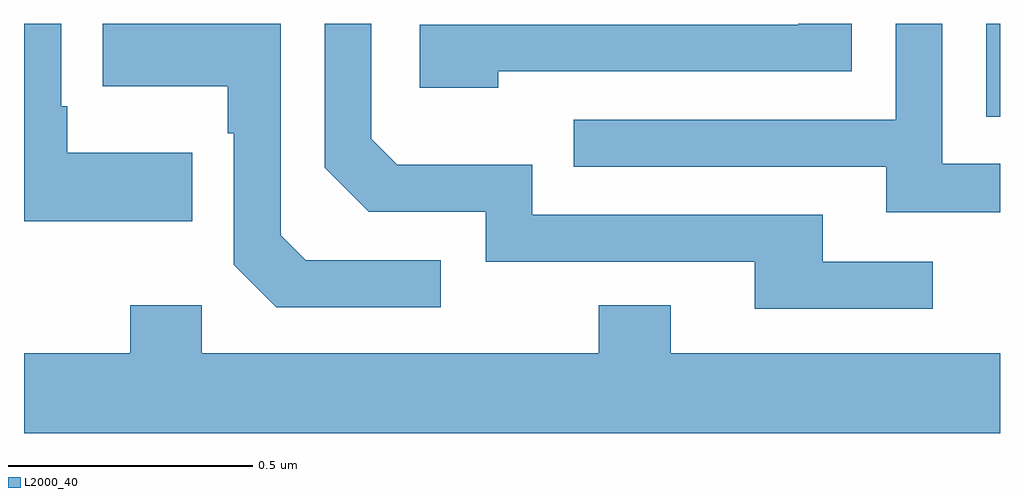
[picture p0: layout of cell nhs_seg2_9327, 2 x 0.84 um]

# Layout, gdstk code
import gdstk
lib = gdstk.Library(unit=1e-6, precision=1e-09)
def R(c, l, rs):  # rectangles x0, y0, x1, y1
    for r in rs: c.add(gdstk.rectangle(r[:2], r[2:], *l))
def P(c, l, *ps):  # polygons
    for p in ps: c.add(gdstk.Polygon(p, *l))
L2000_40 = (2000, 40)

nhs_seg2_9327 = lib.new_cell('nhs_seg2_9327')
R(nhs_seg2_9327, L2000_40, [(228.972,657.609,229,657.8)])
P(nhs_seg2_9327, L2000_40, [(228.862,657.312),(228.637,657.312),(228.637,657.408),(228.042,657.408),(228.042,657.511),(227.765,657.511),(227.712,657.564),(227.712,657.8),(227.616,657.8),(227.616,657.504),(227.706,657.414),(227.946,657.414),(227.946,657.312),(228.497,657.312),(228.497,657.216),(228.862,657.216)],
  [(227.972,657.702),(228.696,657.702),(228.696,657.8),(228.587,657.8),(228.587,657.798),(227.811,657.798),(227.811,657.668),(227.972,657.668)],
  [(227.854,657.315),(227.577,657.315),(227.526,657.366),(227.526,657.8),(227.161,657.8),(227.161,657.671),(227.418,657.671),(227.418,657.575),(227.43,657.575),(227.43,657.306),(227.517,657.219),(227.854,657.219)],
  [(227.345,657.535),(227.089,657.535),(227.089,657.631),(227.076,657.631),(227.076,657.8),(227,657.8),(227,657.395),(227.345,657.395)],
  [(229,657.513),(228.882,657.513),(228.882,657.8),(228.786,657.8),(228.786,657.603),(228.127,657.603),(228.127,657.507),(228.767,657.507),(228.767,657.413),(229,657.413)],
  [(229,657.124),(228.325,657.124),(228.325,657.223),(228.178,657.223),(228.178,657.124),(227.364,657.124),(227.364,657.223),(227.218,657.223),(227.218,657.124),(227,657.124),(227,656.96),(229,656.96)])

lib.write_gds('nhs_seg2_9327.gds')
